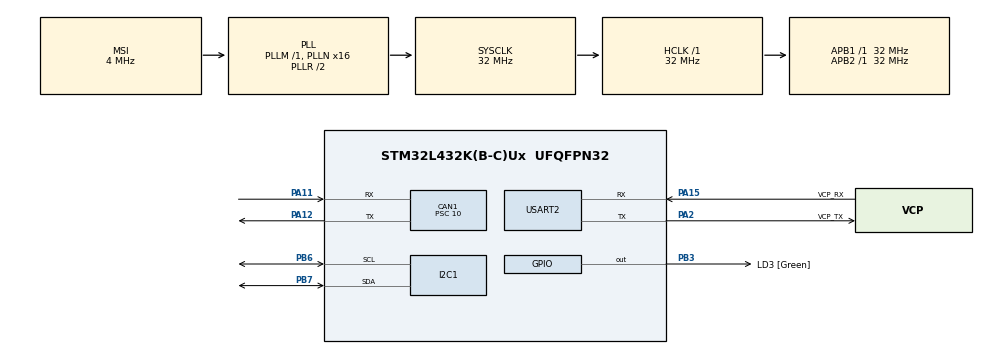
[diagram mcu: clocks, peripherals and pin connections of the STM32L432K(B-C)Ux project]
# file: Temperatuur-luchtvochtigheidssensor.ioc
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CAN1.ABOM=ENABLE
CAN1.BS1=CAN_BS1_13TQ
CAN1.BS2=CAN_BS2_2TQ
CAN1.CalculateBaudRate=200000
CAN1.CalculateTimeBit=5000
CAN1.CalculateTimeQuantum=312.5
CAN1.NART=ENABLE
CAN1.Prescaler=10
I2C1.Timing=0x00B07CB4
Mcu.Family=STM32L4
Mcu.Name=STM32L432K(B-C)Ux
Mcu.Package=UFQFPN32
NVIC.CAN1_RX0_IRQn=true\:0\:0\:false\:false\:true\:true\:true\:true
NVIC.PriorityGroup=NVIC_PRIORITYGROUP_4
PA0.GPIO_Label=MCO [High speed clock in]
PA0.Mode=HSE-External-Clock-Source-for-LittleOrca
PA0.Signal=RCC_CK_IN
PA11.Mode=CAN_Activate
PA11.Signal=CAN1_RX
PA12.Mode=CAN_Activate
PA12.Signal=CAN1_TX
PA13\ (JTMS-SWDIO).GPIO_Label=SWDIO
PA13\ (JTMS-SWDIO).Mode=Serial_Wire
PA13\ (JTMS-SWDIO).Signal=SYS_JTMS-SWDIO
PA14\ (JTCK-SWCLK).GPIO_Label=SWCLK
PA14\ (JTCK-SWCLK).Mode=Serial_Wire
PA14\ (JTCK-SWCLK).Signal=SYS_JTCK-SWCLK
PA15\ (JTDI).GPIO_Label=VCP_RX
PA15\ (JTDI).Mode=Asynchronous
PA15\ (JTDI).Signal=USART2_RX
PA2.GPIO_Label=VCP_TX
PA2.Mode=Asynchronous
PA2.Signal=USART2_TX
PB3\ (JTDO-TRACESWO).GPIO_Label=LD3 [Green]
PB3\ (JTDO-TRACESWO).Signal=GPIO_Output
PB6.Mode=I2C
PB6.Signal=I2C1_SCL
PB7.Mode=I2C
PB7.Signal=I2C1_SDA
PC14-OSC32_IN\ (PC14).Mode=LSE-External-Oscillator
PC14-OSC32_IN\ (PC14).Signal=RCC_OSC32_IN
PC15-OSC32_OUT\ (PC15).Mode=LSE-External-Oscillator
PC15-OSC32_OUT\ (PC15).Signal=RCC_OSC32_OUT
ProjectManager.HeapSize=0x200
ProjectManager.StackSize=0x400
ProjectManager.TargetToolchain=STM32CubeIDE
RCC.AHBFreq_Value=32000000
RCC.APB1Freq_Value=32000000
RCC.APB1TimFreq_Value=32000000
RCC.APB2Freq_Value=32000000
RCC.APB2TimFreq_Value=32000000
RCC.CortexFreq_Value=32000000
RCC.HCLKFreq_Value=32000000
RCC.HSE_VALUE=8000000
RCC.HSI16_VALUE=16000000
RCC.HSI48_VALUE=48000000
RCC.HSI_VALUE=16000000
RCC.MSI_VALUE=4000000
RCC.PLLMUL=RCC_PLLMUL_4
RCC.PLLN=16
RCC.SYSCLKFreq_VALUE=32000000
RCC.SYSCLKSource=RCC_SYSCLKSOURCE_PLLCLK
RCC.VCOOutputFreq_Value=64000000
USART2.VirtualMode-Asynchronous=VM_ASYNC
board=NUCLEO-L432KC

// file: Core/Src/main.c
/* USER CODE BEGIN Header */
/**
  ******************************************************************************
  * @file           : main.c
  * @brief          : Main program body
  ******************************************************************************
  * @attention
  *
  * Copyright (c) 2026 STMicroelectronics.
  * All rights reserved.
  *
  * This software is licensed under terms that can be found in the LICENSE file
  * in the root directory of this software component.
  * If no LICENSE file comes with this software, it is provided AS-IS.
  *
  ******************************************************************************
  */
/* USER CODE END Header */
#include "main.h"
#include "can.h"
#include "i2c.h"
#include "usart.h"
#include "gpio.h"

/* USER CODE BEGIN Includes */
#include <stdio.h>
#include <string.h>
/* USER CODE END Includes */

/* USER CODE BEGIN PD */
#define SHT3X_ADDR 0x44 << 1
/* USER CODE END PD */

/* USER CODE BEGIN PV */
volatile int datacheck = 0;  // Gebruik dezelfde variabele als in je andere project
CAN_RxHeaderTypeDef rxHeader;
uint8_t rxData[8];
float temperature = 0.0f;
float humidity = 0.0f;
/* USER CODE END PV */

void SystemClock_Config(void);

/* USER CODE BEGIN 0 */

HAL_StatusTypeDef SHT3X_Read(float *temp, float *hum) {
    uint8_t cmd[2] = {0x24, 0x00};  // Single shot measurement, high repeatability
    uint8_t data[6];  // Buffer voor ontvangen data

    if (HAL_I2C_Master_Transmit(&hi2c1, SHT3X_ADDR, cmd, 2, 50) != HAL_OK)
        return HAL_ERROR;

    HAL_Delay(20);  // Wacht op meting

    if (HAL_I2C_Master_Receive(&hi2c1, SHT3X_ADDR, data, 6, 50) != HAL_OK)
        return HAL_ERROR;

    // Converteer ruwe data naar temperatuur en luchtvochtigheid
    uint16_t rawT = (data[0] << 8) | data[1];
    *temp = -45.0f + 175.0f * ((float)rawT / 65535.0f);

    uint16_t rawRH = (data[3] << 8) | data[4];
    *hum = 100.0f * ((float)rawRH / 65535.0f);

    return HAL_OK;
}

// Functie om SHT3X-gegevens via CAN te verzenden
void Send_SHT3X_via_CAN(float temp, float hum) {
    CAN_TxHeaderTypeDef TxHeader;
    uint8_t TxData[8];
    uint32_t TxMailbox;

    TxHeader.StdId = 100;  // ID voor SHT3X-gegevens (naar de Pi)
    TxHeader.ExtId = 0x00;
    TxHeader.RTR = CAN_RTR_DATA;
    TxHeader.IDE = CAN_ID_STD;
    TxHeader.DLC = 8;
    TxHeader.TransmitGlobalTime = DISABLE;

    // Converteer float naar uint16_t (2 decimale nauwkeurigheid)
    uint16_t temp_int = (uint16_t)(temp * 100);
    uint16_t hum_int = (uint16_t)(hum * 100);

    TxData[0] = (temp_int >> 8) & 0xFF;  // MSB temperatuur
    TxData[1] = temp_int & 0xFF;          // LSB temperatuur
    TxData[2] = (hum_int >> 8) & 0xFF;    // MSB luchtvochtigheid
    TxData[3] = hum_int & 0xFF;           // LSB luchtvochtigheid
    TxData[4] = 0x00;  // Optioneel
    TxData[5] = 0x00;
    TxData[6] = 0x00;
    TxData[7] = 0x00;

    if (HAL_CAN_AddTxMessage(&hcan1, &TxHeader, TxData, &TxMailbox) != HAL_OK) {
        printf("CAN Transmit Error!\r\n");
    }
}

void I2C_Scan(void) {
    for (uint8_t addr = 1; addr < 127; addr++) {
        if (HAL_I2C_IsDeviceReady(&hi2c1, addr << 1, 1, 10) == HAL_OK) {
            printf("FOUND I2C DEVICE at 0x%02X\r\n", addr);
        }
    }
}

/* USER CODE END 0 */

int main(void)
{

  /* MCU Configuration--------------------------------------------------------*/

  /* Reset of all peripherals, Initializes the Flash interface and the Systick. */
  HAL_Init();

  /* Configure the system clock */
  SystemClock_Config();

  /* Initialize all configured peripherals */
  MX_GPIO_Init();
  MX_I2C1_Init();
  MX_USART2_UART_Init();
  MX_CAN1_Init();
  /* USER CODE BEGIN 2 */
  I2C_Scan();
  HAL_Delay(2000);

  // CAN Filter Config (open filter)
  CAN_FilterTypeDef canfilterconfig;
  canfilterconfig.FilterActivation = CAN_FILTER_ENABLE;
  canfilterconfig.FilterBank = 0;
  canfilterconfig.FilterFIFOAssignment = CAN_FILTER_FIFO0;
  canfilterconfig.FilterIdHigh = 0;  // Open filter
  canfilterconfig.FilterIdLow = 0;
  canfilterconfig.FilterMaskIdHigh = 0;
  canfilterconfig.FilterMaskIdLow = 0;
  canfilterconfig.FilterMode = CAN_FILTERMODE_IDMASK;
  canfilterconfig.FilterScale = CAN_FILTERSCALE_32BIT;

  HAL_CAN_ConfigFilter(&hcan1, &canfilterconfig);
  HAL_CAN_Start(&hcan1);
  HAL_CAN_ActivateNotification(&hcan1, CAN_IT_RX_FIFO0_MSG_PENDING);
  /* USER CODE END 2 */

  /* Infinite loop */
  /* USER CODE BEGIN WHILE */
  while (1) {
      if (datacheck) {
          datacheck = 0;
          if (rxHeader.StdId == 101) {
              if (SHT3X_Read(&temperature, &humidity) == HAL_OK) {
                  Send_SHT3X_via_CAN(temperature, humidity);
              }
          }
      }
      HAL_Delay(100);
  }
  /* USER CODE END WHILE */

}
void SystemClock_Config(void)
{
  RCC_OscInitTypeDef RCC_OscInitStruct = {0};
  RCC_ClkInitTypeDef RCC_ClkInitStruct = {0};

  /** Configure the main internal regulator output voltage
  */
  if (HAL_PWREx_ControlVoltageScaling(PWR_REGULATOR_VOLTAGE_SCALE1) != HAL_OK)
  {
    Error_Handler();
  }

  /** Configure LSE Drive Capability
  */
  HAL_PWR_EnableBkUpAccess();
  __HAL_RCC_LSEDRIVE_CONFIG(RCC_LSEDRIVE_LOW);

  /** Initializes the RCC Oscillators according to the specified parameters
  * in the RCC_OscInitTypeDef structure.
  */
  RCC_OscInitStruct.OscillatorType = RCC_OSCILLATORTYPE_LSE|RCC_OSCILLATORTYPE_MSI;
  RCC_OscInitStruct.LSEState = RCC_LSE_ON;
  RCC_OscInitStruct.MSIState = RCC_MSI_ON;
  RCC_OscInitStruct.MSICalibrationValue = 0;
  RCC_OscInitStruct.MSIClockRange = RCC_MSIRANGE_6;
  RCC_OscInitStruct.PLL.PLLState = RCC_PLL_ON;
  RCC_OscInitStruct.PLL.PLLSource = RCC_PLLSOURCE_MSI;
  RCC_OscInitStruct.PLL.PLLM = 1;
  RCC_OscInitStruct.PLL.PLLN = 16;
  RCC_OscInitStruct.PLL.PLLP = RCC_PLLP_DIV7;
  RCC_OscInitStruct.PLL.PLLQ = RCC_PLLQ_DIV2;
  RCC_OscInitStruct.PLL.PLLR = RCC_PLLR_DIV2;
  if (HAL_RCC_OscConfig(&RCC_OscInitStruct) != HAL_OK)
  {
    Error_Handler();
  }

  /** Initializes the CPU, AHB and APB buses clocks
  */
  RCC_ClkInitStruct.ClockType = RCC_CLOCKTYPE_HCLK|RCC_CLOCKTYPE_SYSCLK
                              |RCC_CLOCKTYPE_PCLK1|RCC_CLOCKTYPE_PCLK2;
  RCC_ClkInitStruct.SYSCLKSource = RCC_SYSCLKSOURCE_PLLCLK;
  RCC_ClkInitStruct.AHBCLKDivider = RCC_SYSCLK_DIV1;
  RCC_ClkInitStruct.APB1CLKDivider = RCC_HCLK_DIV1;
  RCC_ClkInitStruct.APB2CLKDivider = RCC_HCLK_DIV1;

  if (HAL_RCC_ClockConfig(&RCC_ClkInitStruct, FLASH_LATENCY_1) != HAL_OK)
  {
    Error_Handler();
  }

  /** Enable MSI Auto calibration
  */
  HAL_RCCEx_EnableMSIPLLMode();
}

/* USER CODE BEGIN 4 */

int _write(int file, char *ptr, int len) {
    HAL_UART_Transmit(&huart2, (uint8_t*)ptr, len, HAL_MAX_DELAY);
    return len;
}

void HAL_CAN_RxFifo0MsgPendingCallback(CAN_HandleTypeDef *hcan) {
    if (HAL_CAN_GetRxMessage(hcan, CAN_RX_FIFO0, &rxHeader, rxData) != HAL_OK) {
        Error_Handler();
    }
    if (rxHeader.StdId == 101 && rxHeader.RTR == 0) {  // Verzoek voor SHT3X (ID 101)
        datacheck = 1;
    }
}
/* USER CODE END 4 */

void Error_Handler(void)
{
  __disable_irq();
  while (1)
  {
  }
}
